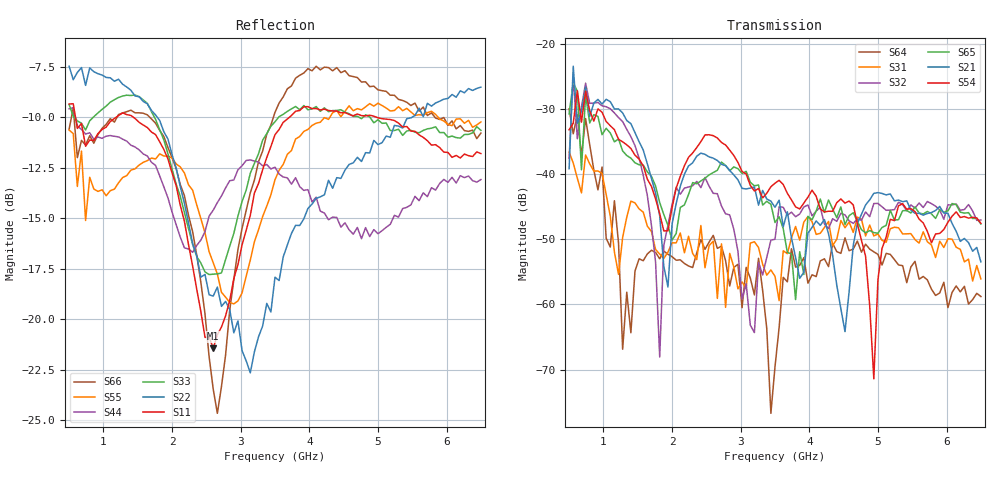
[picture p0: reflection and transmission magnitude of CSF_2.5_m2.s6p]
!Keysight Technologies,M9804A,MY58100912,A.14.10.03
!Date: Thursday, April 27, 2023 10:28:33
!Correction: S11(C  6-Port  )
!S12(C  6-Port  )
!S13(C  6-Port  )
!S14(C  6-Port  )
!S15(C  6-Port  )
!S16(C  6-Port  )
!S21(C  6-Port  )
!S22(C  6-Port  )
!S23(C  6-Port  )
!S24(C  6-Port  )
!S25(C  6-Port  )
!S26(C  6-Port  )
!S31(C  6-Port  )
!S32(C  6-Port  )
!S33(C  6-Port  )
!S34(C  6-Port  )
!S35(C  6-Port  )
!S36(C  6-Port  )
!S41(C  6-Port  )
!S42(C  6-Port  )
!S43(C  6-Port  )
!S44(C  6-Port  )
!S45(C  6-Port  )
!S46(C  6-Port  )
!S51(C  6-Port  )
!S52(C  6-Port  )
!S53(C  6-Port  )
!S54(C  6-Port  )
!S55(C  6-Port  )
!S56(C  6-Port  )
!S61(C  6-Port  )
!S62(C  6-Port  )
!S63(C  6-Port  )
!S64(C  6-Port  )
!S65(C  6-Port  )
!S66(C  6-Port  )
!S6P File: Measurement: :
# Hz S  RI  R 50
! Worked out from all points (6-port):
!   101 points, 500 MHz to 6.5 GHz, reference 50 ohm
!   strongest paths, dB at 500 MHz, 2 GHz, 3.5 GHz, 5 GHz, 6.5 GHz:
!     S54: -33.2, -45.2, -41.4, -56.2, -47.6
!     S21: -39.2, -47.7, -45.1, -42.8, -53.5
!     S65: -30.8, -50.1, -47.4, -49.1, -47.7
!     S32: -37.6, -44.7, -50.0, -44.5, -47.1
!     S31: -36.6, -50.5, -55.7, -49.2, -56.1
!     S64: -30.0, -52.7, -69.6, -52.3, -58.8
!   lowest |S11| = -21.4 dB at 2.6 GHz (marker M1), VSWR 1.19, Z = 42.5 + j2.17 ohm
!   |S11| at or under -10 dB: 592.3 MHz to 1.189 GHz (596.8 MHz wide, 67 % of centre); 1.432 GHz to 3.713 GHz (2.281 GHz wide, 88.6 % of centre); 4.973 GHz to end of sweep
